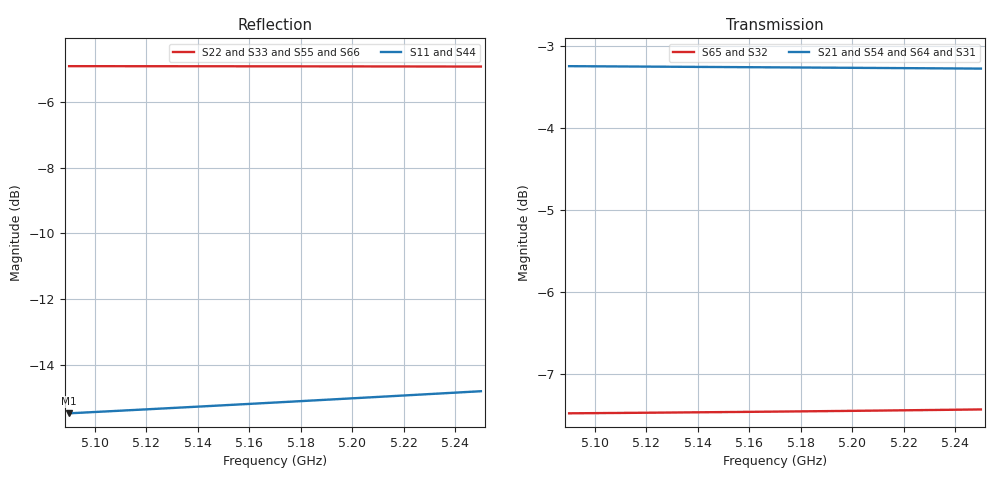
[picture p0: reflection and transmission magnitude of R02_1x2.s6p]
! Touchstone file exported from HFSS 2024.2.0
!  File:  D:/dev/EMBRAER/P1H/R02_Estudo/rede/1x2/R02_Duplo_1x2.aedt
!  Generated:  07:27:52 PM Nov  6, 2026
!  Design:  Duplo_radial
!  Project:  R02_Duplo_1x2
!  Setup:  Divisor
!  Solution:  Banda
# GHz S RI R 50.000000
! Terminal data exported
! Port[1] = A_IN
! Port[2] = A1
! Port[3] = A2
! Port[4] = B_IN
! Port[5] = B1
! Port[6] = B2
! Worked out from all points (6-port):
!   17 points, 5.09 GHz to 5.25 GHz, reference 50 ohm
!   strongest paths, dB at 5.09 GHz, 5.13 GHz, 5.17 GHz, 5.21 GHz, 5.25 GHz:
!     S21: -3.2, -3.3, -3.3, -3.3, -3.3
!     S54: -3.3, -3.3, -3.3, -3.3, -3.3
!     S64: -3.3, -3.3, -3.3, -3.3, -3.3
!     S31: -3.3, -3.3, -3.3, -3.3, -3.3
!     S65: -7.5, -7.5, -7.5, -7.4, -7.4
!     S32: -7.5, -7.5, -7.5, -7.4, -7.4
!   lowest |S11| = -15.5 dB at 5.09 GHz (marker M1), VSWR 1.40, Z = 50.2 - j17.1 ohm
!   |S11| at or under -10 dB: start of sweep to end of sweep
